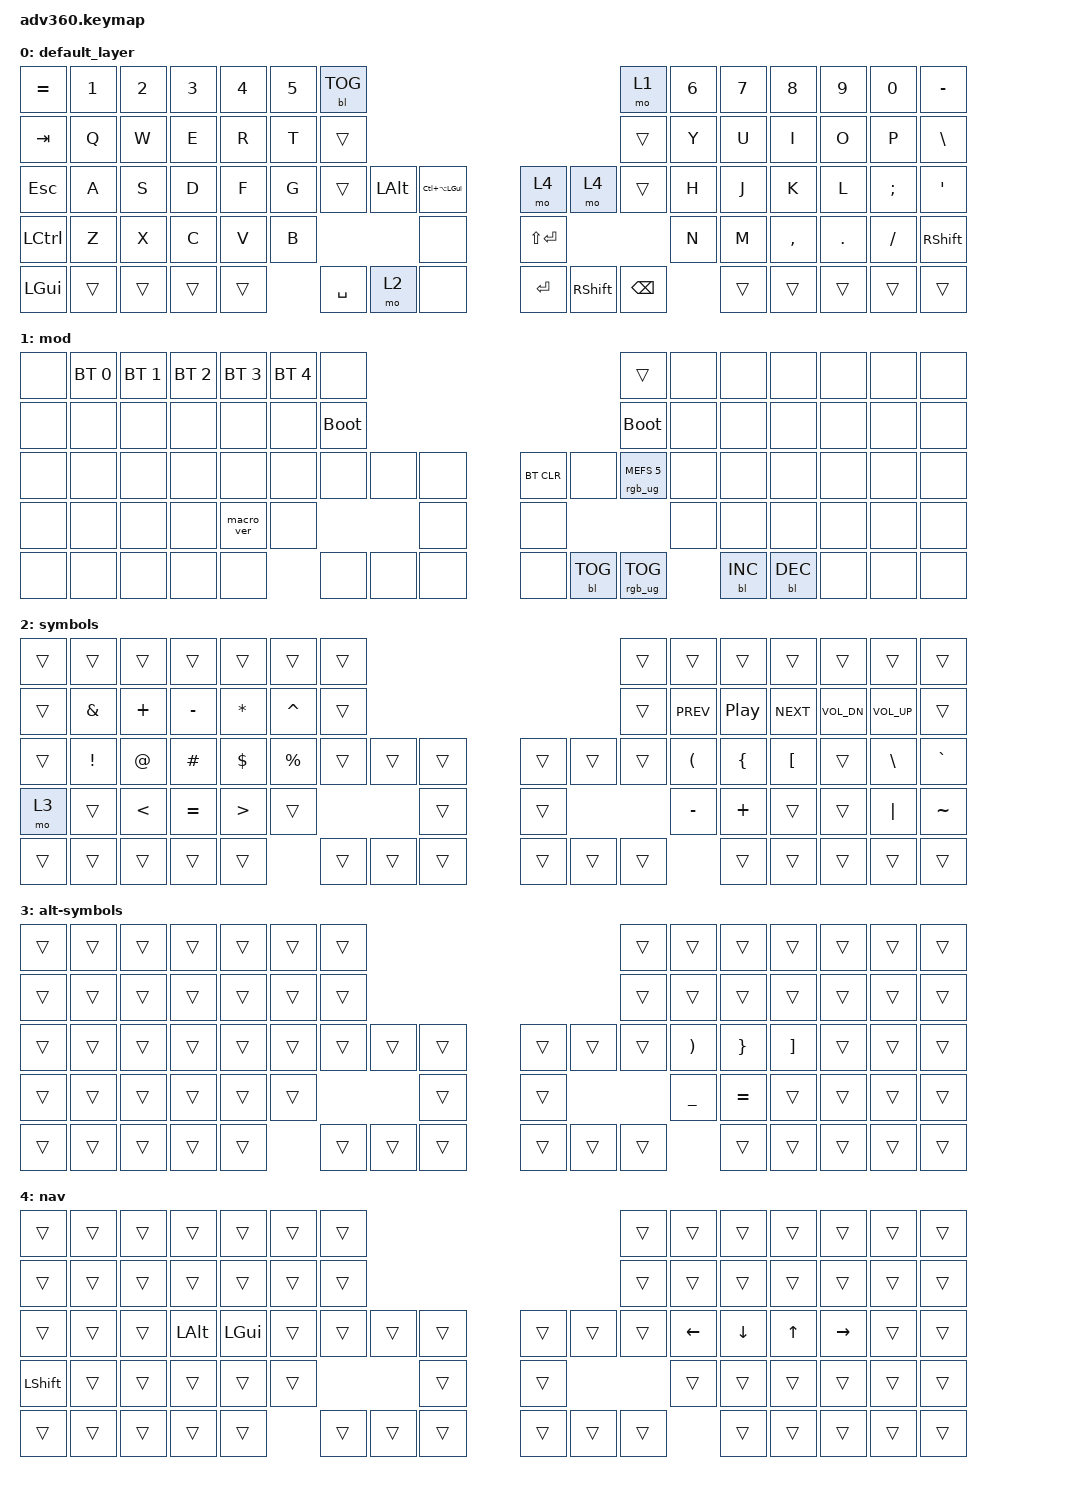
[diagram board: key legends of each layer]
#include <behaviors.dtsi>
#include <dt-bindings/zmk/backlight.h>
#include <dt-bindings/zmk/bt.h>
#include <dt-bindings/zmk/keys.h>
#include <dt-bindings/zmk/rgb.h>

/ {
    behaviors {
        #include "macros.dtsi"
      #include "version.dtsi"
      #ifndef VERSION_MACRO

        macro_ver: macro_ver {
            compatible = "zmk,behavior-macro";
            label = "macro_version";
            #binding-cells = <0>;
            bindings = <&kp RET>;
        };

        macro_nvim_pv: macro_nvim_pv {
            compatible = "zmk,behavior-macro";
            #binding-cells = <0>;
            bindings = <&kp SPACE &kp P &kp V>;
            label = "MACRO_NVIM_PV";
        };

        #endif

        hm: homerow_mods {
            compatible = "zmk,behavior-hold-tap";
            label = "HOMEROW_MODS";
            #binding-cells = <2>;
            tapping-term-ms = <200>;
            quick_tap_ms = <175>;
            flavor = "tap-preferred";
            bindings = <&kp>, <&kp>;
        };
    };

    macros {
    };

    keymap {
        compatible = "zmk,keymap";

        default_layer {
            bindings = <
&kp EQUAL     &kp N1  &kp N2  &kp N3  &kp N4  &kp N5  &bl BL_TOG                                                                       &mo 1          &kp N6  &kp N7  &kp N8     &kp N9   &kp N0    &kp MINUS
&kp TAB       &kp Q   &kp W   &kp E   &kp R   &kp T   &trans                                                                           &trans         &kp Y   &kp U   &kp I      &kp O    &kp P     &kp BSLH
&kp ESC       &kp A   &kp S   &kp D   &kp F   &kp G   &trans      &kp LEFT_ALT  &kp LC(LA(LGUI))      &mo 4           &mo 4            &trans         &kp H   &kp J   &kp K      &kp L    &kp SEMI  &kp SQT
&kp LCTRL     &kp Z   &kp X   &kp C   &kp V   &kp B                             &none                 &kp LS(RETURN)                                  &kp N   &kp M   &kp COMMA  &kp DOT  &kp FSLH  &kp RSHFT
&kp LEFT_GUI  &trans  &trans  &trans  &trans          &kp SPACE   &mo 2         &none                 &kp RETURN      &kp RIGHT_SHIFT  &kp BACKSPACE          &trans  &trans     &trans   &trans    &trans
            >;
        };

        mod {
            bindings = <
&none  &bt BT_SEL 0  &bt BT_SEL 1  &bt BT_SEL 2  &bt BT_SEL 3  &bt BT_SEL 4  &none                                                  &trans                  &none  &none       &none       &none  &none  &none
&none  &none         &none         &none         &none         &none         &bootloader                                            &bootloader             &none  &none       &none       &none  &none  &none
&none  &none         &none         &none         &none         &none         &none        &none  &none      &bt BT_CLR  &none       &rgb_ug RGB_MEFS_CMD 5  &none  &none       &none       &none  &none  &none
&none  &none         &none         &none         &macro_ver    &none                             &none      &none                                           &none  &none       &none       &none  &none  &none
&none  &none         &none         &none         &none                       &none        &none  &none      &none       &bl BL_TOG  &rgb_ug RGB_TOG                &bl BL_INC  &bl BL_DEC  &none  &none  &none
            >;
        };

        symbols {
            bindings = <
&trans  &trans           &trans         &trans     &trans            &trans       &trans                                      &trans  &trans                &trans            &trans            &trans        &trans         &trans
&trans  &kp AMPERSAND    &kp PLUS       &kp MINUS  &kp ASTERISK      &kp CARET    &trans                                      &trans  &kp C_PREV            &kp C_PLAY_PAUSE  &kp C_NEXT        &kp C_VOL_DN  &kp C_VOL_UP   &trans
&trans  &kp EXCLAMATION  &kp AT_SIGN    &kp HASH   &kp DOLLAR        &kp PERCENT  &trans  &trans  &trans      &trans  &trans  &trans  &kp LEFT_PARENTHESIS  &kp LEFT_BRACE    &kp LEFT_BRACKET  &trans        &kp BACKSLASH  &kp GRAVE
&mo 3   &trans           &kp LESS_THAN  &kp EQUAL  &kp GREATER_THAN  &trans                       &trans      &trans                  &kp MINUS             &kp PLUS          &trans            &trans        &kp PIPE       &kp TILDE
&trans  &trans           &trans         &trans     &trans                         &trans  &trans  &trans      &trans  &trans  &trans                        &trans            &trans            &trans        &trans         &trans
            >;
        };

        alt-symbols {
            bindings = <
&trans  &trans  &trans  &trans  &trans  &trans  &trans                                      &trans  &trans                 &trans           &trans             &trans  &trans  &trans
&trans  &trans  &trans  &trans  &trans  &trans  &trans                                      &trans  &trans                 &trans           &trans             &trans  &trans  &trans
&trans  &trans  &trans  &trans  &trans  &trans  &trans  &trans  &trans      &trans  &trans  &trans  &kp RIGHT_PARENTHESIS  &kp RIGHT_BRACE  &kp RIGHT_BRACKET  &trans  &trans  &trans
&trans  &trans  &trans  &trans  &trans  &trans                  &trans      &trans                  &kp UNDERSCORE         &kp EQUAL        &trans             &trans  &trans  &trans
&trans  &trans  &trans  &trans  &trans          &trans  &trans  &trans      &trans  &trans  &trans                         &trans           &trans             &trans  &trans  &trans
            >;
        };

        nav {
            bindings = <
&trans      &trans  &trans  &trans        &trans        &trans  &trans                                      &trans  &trans    &trans    &trans        &trans     &trans  &trans
&trans      &trans  &trans  &trans        &trans        &trans  &trans                                      &trans  &trans    &trans    &trans        &trans     &trans  &trans
&trans      &trans  &trans  &kp LEFT_ALT  &kp LEFT_GUI  &trans  &trans  &trans  &trans      &trans  &trans  &trans  &kp LEFT  &kp DOWN  &kp UP_ARROW  &kp RIGHT  &trans  &trans
&kp LSHIFT  &trans  &trans  &trans        &trans        &trans                  &trans      &trans                  &trans    &trans    &trans        &trans     &trans  &trans
&trans      &trans  &trans  &trans        &trans                &trans  &trans  &trans      &trans  &trans  &trans            &trans    &trans        &trans     &trans  &trans
            >;
        };
    };
};
